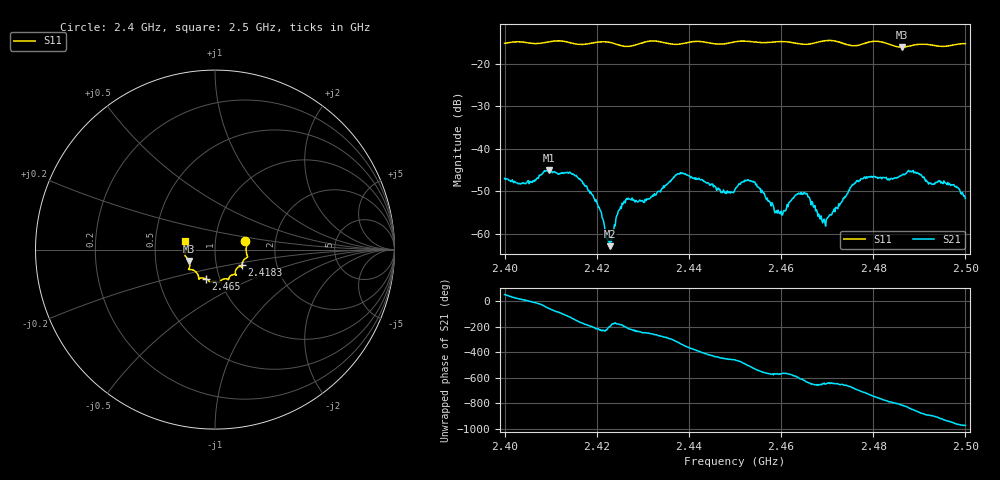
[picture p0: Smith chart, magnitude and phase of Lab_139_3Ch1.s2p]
# Hz S RI R 50
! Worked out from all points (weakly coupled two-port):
!   601 points, 2.4 GHz to 2.5 GHz, reference 50 ohm
!   highest |S21| = -45.04 dB at 2.4097 GHz (marker M1); lowest = -62.9 dB at 2.4228 GHz (marker M2)
!   lowest |S11| = -16.1 dB at 2.4862 GHz (marker M3), VSWR 1.37, Z = 37.2 - j4.82 ohm
!   |S11| at or under -10 dB: start of sweep to end of sweep
!   S12 and S22 are empty: the file has one direction only
!   S11 on the Smith chart (normalised r, x): 2.4 GHz: 1.40, +0.14; 2.4183 GHz: 1.33, -0.24; 2.465 GHz: 0.86, -0.29; 2.5 GHz: 0.71, +0.07
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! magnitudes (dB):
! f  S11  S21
! 2.4 GHz  -15.2  -46.9
! 2.4043 GHz  -14.9  -48.1
! 2.4097 GHz  -14.8  -45.0
! 2.4167 GHz  -15.4  -47.5
! 2.4183 GHz  -15.2  -49.8
! 2.4205 GHz  -14.8  -53.7
! 2.4228 GHz  -14.9  -62.9
! 2.4247 GHz  -15.5  -54.6
! 2.426 GHz  -15.9  -52.3
! 2.4333 GHz  -14.7  -50.1
! 2.4382 GHz  -15.3  -45.6
! 2.45 GHz  -14.8  -49.6
! 2.4538 GHz  -14.8  -47.8
! 2.46 GHz  -14.7  -54.7
! 2.465 GHz  -15.4  -50.2
! 2.4667 GHz  -15.2  -52.4
! 2.4695 GHz  -14.6  -57.3
! 2.476 GHz  -15.8  -48.0
! 2.4833 GHz  -15.3  -47.1
! 2.4862 GHz  -16.1  -46.2
! 2.497 GHz  -15.6  -48.5
! 2.5 GHz  -15.2  -51.7
